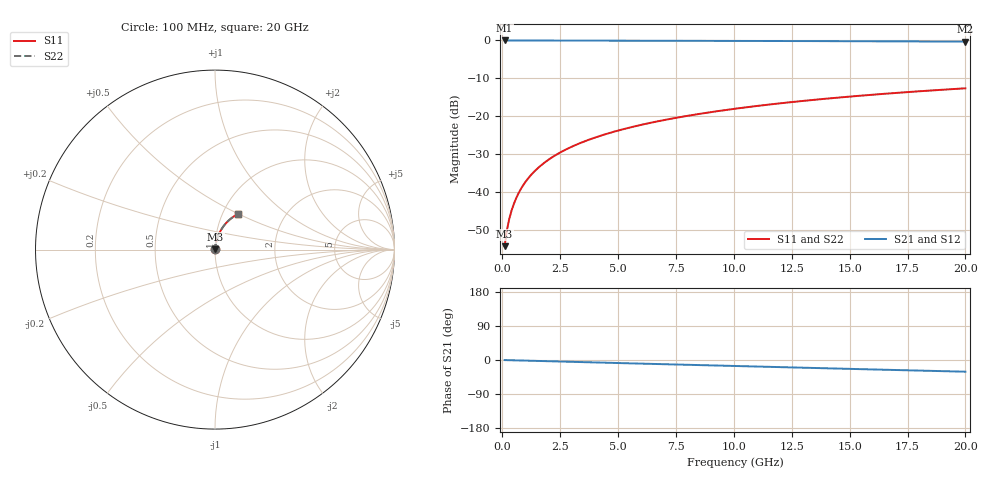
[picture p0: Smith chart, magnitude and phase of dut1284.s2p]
! Touchstone file exported from HFSS 2026.1.0
!  File:  C:/ffzhzh/LocalFiles/Ansys_Project_Files/temp_train_TMRDL_1284_1783164380_43440.aedt
!  Generated:  07:27:39 PM Jul  4, 2026
!  Design:  TMRDL
!  Project:  temp_train_TMRDL_1284_1783164380_43440
! Variables:
!  h_bsmrdl = 2um
!  h_ox = 20um
!  h_rdl = 5um
!  h_sub = 80um
!  h_tmrdl = 5.86um
!  h_tsv = 80um
!  h_via = 3um
!  l_bsmrdl = 300um
!  l_sub = 870.54um
!  l_tmrdl = 470.54um
!  m_sub = 200um
!  pitch = 48.67um
!  r_tsv = 6um
!  s_tmrdl = 10um
!  w_bsmrdl = 18um
!  w_sub = 500um
!  w_tmrdl = 26.71um
!  x_tsv_center1 = 483.895um
!  x_tsv_center2 = 801.895um
!  x_tsv_center3 = 1299.145um
!  x_tsv_center4 = 1617.145um
!  x_tsv_center5 = 2114.395um
!  x_tsv_center6 = 2432.395um
# GHz S MA R 50.000000
! Terminal data exported
! Port[1] = TM_RDL1_1_T1
! Port[2] = TM_RDL1_1_T2
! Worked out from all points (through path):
!   200 points, 100 MHz to 20 GHz, reference 50 ohm
!   highest |S21| = -0.01 dB at 100 MHz (marker M1); lowest = -0.3 dB at 20 GHz (marker M2)
!   group delay of S21, straight-line fit = 4.28 ps
!   lowest |S11| = -54.1 dB at 100 MHz (marker M3), VSWR 1.00, Z = 50.1 + j0.151 ohm
!   |S11| at or under -10 dB: start of sweep to end of sweep
!   |S22| runs from -54.1 to -12.6 dB; largest |S21 - S12| = 2.7e-15
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0.1  0.001966 50.2  0.9987 -0.2  0.9987 -0.2  0.001966 50.2
! Gamma 0 0 0 0
! Port Impedance 50 0 50 0
0.2  0.003207 64.3  0.9986 -0.3  0.9986 -0.3  0.003207 64.3
0.3  0.004481 70.7  0.9985 -0.5  0.9985 -0.5  0.004481 70.7
0.4  0.005778 74.4  0.9985 -0.7  0.9985 -0.7  0.005778 74.4
0.5  0.007092 76.7  0.9984 -0.8  0.9984 -0.8  0.007092 76.7
0.7  0.00975 79.4  0.9984 -1.1  0.9984 -1.1  0.00975 79.4
0.8  0.01109 80.2  0.9983 -1.3  0.9983 -1.3  0.01109 80.2
1  0.01376 81.2  0.9982 -1.6  0.9982 -1.6  0.01376 81.2
1.2  0.01644 81.7  0.9981 -2.0  0.9981 -2.0  0.01644 81.7
1.4  0.0191 82.0  0.9979 -2.3  0.9979 -2.3  0.0191 82.0
1.7  0.02308 82.1  0.9977 -2.8  0.9977 -2.8  0.02308 82.1
2  0.02703 81.9  0.9974 -3.3  0.9974 -3.3  0.02703 81.9
2.7  0.03614 81.3  0.9966 -4.4  0.9966 -4.4  0.03614 81.3
3.5  0.04637 80.4  0.9957 -5.6  0.9957 -5.6  0.04637 80.4
4.2  0.05521 79.5  0.9949 -6.7  0.9949 -6.7  0.05521 79.5
5  0.06519 78.5  0.9939 -8.0  0.9939 -8.0  0.06519 78.5
6.8  0.08734 76.1  0.9915 -10.8  0.9915 -10.8  0.08734 76.1
8.3  0.1055 74.0  0.9892 -13.2  0.9892 -13.2  0.1055 74.0
10.1  0.1268 71.5  0.9862 -15.9  0.9862 -15.9  0.1268 71.5
13.4  0.1647 66.7  0.9798 -21.0  0.9798 -21.0  0.1647 66.7
16.7  0.2007 62.0  0.9724 -26.0  0.9724 -26.0  0.2007 62.0
20  0.2345 57.2  0.9644 -30.9  0.9644 -30.9  0.2345 57.2
